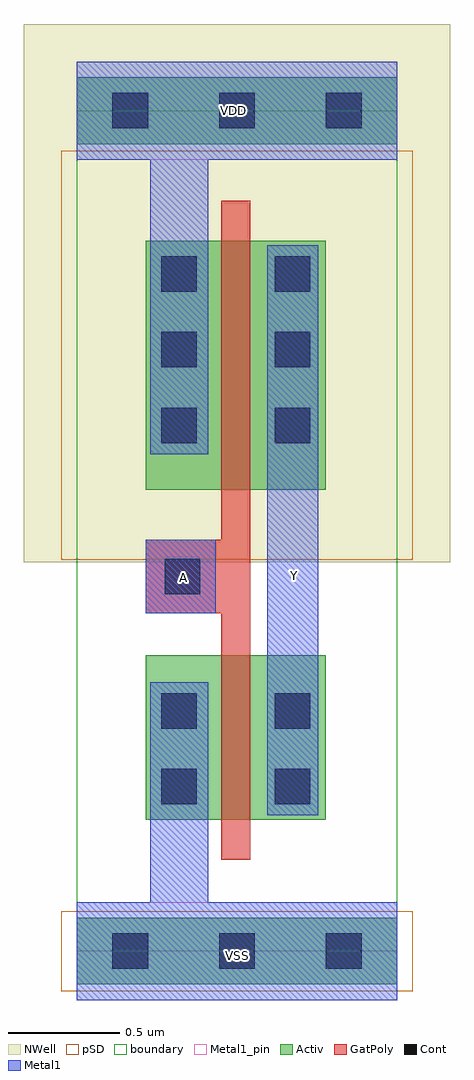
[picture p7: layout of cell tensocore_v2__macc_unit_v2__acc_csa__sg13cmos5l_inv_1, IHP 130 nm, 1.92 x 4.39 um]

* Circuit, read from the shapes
.subckt tensocore_v2__macc_unit_v2__acc_csa__sg13cmos5l_inv_1 A VDD VSS Y
XM1 Y A VSS VSS sg13_lv_nmos w=0.74u l=0.13u
XM2 Y A VDD VDD sg13_lv_pmos w=1.12u l=0.13u
.ends

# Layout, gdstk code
import gdstk
lib = gdstk.Library(unit=1e-6, precision=1e-09)
def R(c, l, rs):  # rectangles x0, y0, x1, y1
    for r in rs: c.add(gdstk.rectangle(r[:2], r[2:], *l))
def A(c, l, x, y, w, h, nx, ny, dx, dy):  # array of equal rectangles
    R(c, l, [(x+i*dx, y+j*dy, x+i*dx+w, y+j*dy+h) for i in range(nx) for j in range(ny)])
def P(c, l, *ps):  # polygons
    for p in ps: c.add(gdstk.Polygon(p, *l))
Activ = (1, 0)
GatPoly = (5, 0)
Cont = (6, 0)
Metal1 = (8, 0)
Metal1_pin = (8, 2)
pSD = (14, 0)
NWell = (31, 0)
boundary = (189, 4)

tensocore_v2__macc_unit_ = lib.new_cell('tensocore_v2__macc_unit_v2__acc_csa__sg13cmos5l_inv_1')
R(tensocore_v2__macc_unit_, Activ, [(0,-0.15,1.44,0.15), (0.31,0.59,1.12,1.33), (0.31,2.075,1.12,3.195), (0,3.63,1.44,3.93)])
P(tensocore_v2__macc_unit_, GatPoly, [(0.65,0.41),(0.65,1.52),(0.31,1.52),(0.31,1.85),(0.65,1.85),(0.65,3.375),(0.78,3.375),(0.78,0.41)])
A(tensocore_v2__macc_unit_, Cont, 0.38, 2.285, 0.16, 0.16, 1, 3, 0, 0.34)
A(tensocore_v2__macc_unit_, Cont, 0.89, 2.285, 0.16, 0.16, 1, 3, 0, 0.34)
R(tensocore_v2__macc_unit_, Cont, [(0.16,-0.08,0.32,0.08), (0.16,-0.08,0.32,0.08), (0.64,-0.08,0.8,0.08), (0.64,-0.08,0.8,0.08), (1.12,-0.08,1.28,0.08), (1.12,-0.08,1.28,0.08), (0.38,0.66,0.54,0.82), (0.89,0.66,1.05,0.82), (0.38,1,0.54,1.16), (0.89,1,1.05,1.16), (0.395,1.605,0.555,1.765), (0.16,3.7,0.32,3.86), (0.16,3.7,0.32,3.86), (0.64,3.7,0.8,3.86), (0.64,3.7,0.8,3.86), (1.12,3.7,1.28,3.86), (1.12,3.7,1.28,3.86)])
R(tensocore_v2__macc_unit_, Metal1, [(0.855,0.61,1.085,3.175), (0.31,1.52,0.625,1.85)])
P(tensocore_v2__macc_unit_, Metal1, [(0,-0.22),(0,0.22),(0.33,0.22),(0.33,1.21),(0.59,1.21),(0.59,0.22),(1.44,0.22),(1.44,-0.22)],
  [(0.33,2.235),(0.33,3.56),(0,3.56),(0,4),(1.44,4),(1.44,3.56),(0.59,3.56),(0.59,2.235)])
R(tensocore_v2__macc_unit_, Metal1_pin, [(0,-0.22,1.44,0.22), (0.855,0.61,1.085,3.175), (0.31,1.52,0.625,1.85), (0,3.56,1.44,4)])
R(tensocore_v2__macc_unit_, pSD, [(-0.07,-0.18,1.51,0.18), (-0.07,1.76,1.51,3.6)])
R(tensocore_v2__macc_unit_, NWell, [(-0.24,1.75,1.68,4.17)])
R(tensocore_v2__macc_unit_, boundary, [(0,0,1.44,3.78)])
tensocore_v2__macc_unit_.add(gdstk.Label('VDD', (0.705,3.78), layer=8, texttype=25))
tensocore_v2__macc_unit_.add(gdstk.Label('VSS', (0.72,-0.02), layer=8, texttype=25))
tensocore_v2__macc_unit_.add(gdstk.Label('A', (0.48,1.68), layer=8, texttype=25))
tensocore_v2__macc_unit_.add(gdstk.Label('Y', (0.98,1.69), layer=8, texttype=25))

lib.write_gds('tensocore_v2__macc_unit_v2__acc_csa__sg13cmos5l_inv_1.gds')
